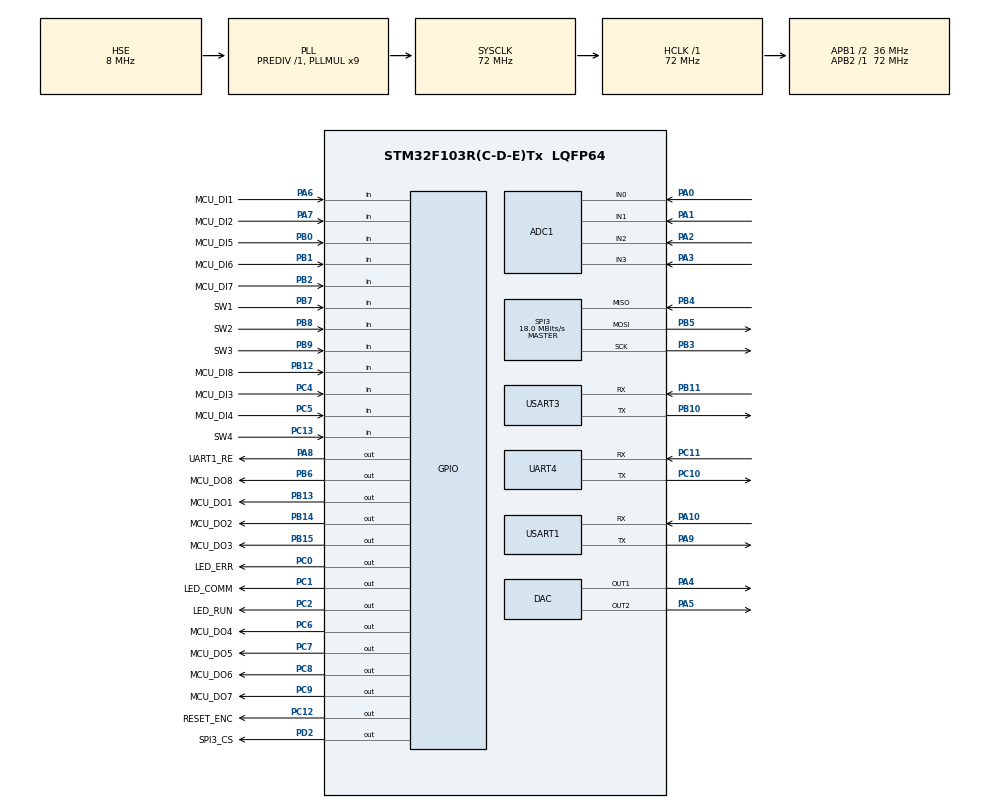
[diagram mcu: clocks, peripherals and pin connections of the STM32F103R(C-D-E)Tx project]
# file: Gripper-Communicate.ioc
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Mcu.Family=STM32F1
SPI3.Direction=SPI_DIRECTION_2LINES
SPI3.VirtualType=VM_MASTER
PB10.Mode=Asynchronous
ADC1.ContinuousConvMode=ENABLE
DAC.DAC_OutputBuffer2=DAC_OUTPUTBUFFER_ENABLE
SH.ADCx_IN2.0=ADC1_IN2,IN2
PC10.Signal=UART4_TX
PC12.Signal=GPIO_Output
PB14.GPIO_Label=MCU_DO2
PC0.GPIO_Label=LED_ERR
PC6.GPIO_Label=MCU_DO4
PA6.GPIO_Label=MCU_DI1
PB0.GPIO_Label=MCU_DI5
PB6.GPIO_Label=MCU_DO8
PB13.GPIO_Label=MCU_DO1
PB11.Signal=USART3_RX
PB13.Signal=GPIO_Output
PB15.Signal=GPIO_Output
RCC.SYSCLKSource=RCC_SYSCLKSOURCE_PLLCLK
ProjectManager.StackSize=0x1000
SH.COMP_DAC2_group.0=DAC_OUT2,DAC_OUT2
PD1-OSC_OUT.Signal=RCC_OSC_OUT
PB1.GPIO_PuPd=GPIO_PULLDOWN
RCC.HCLKFreq_Value=72000000
SH.ADCx_IN3.0=ADC1_IN3,IN3
RCC.APB2TimFreq_Value=72000000
PB6.Signal=GPIO_Output
PC7.Signal=GPIO_Output
RCC.AHBFreq_Value=72000000
PB2.Signal=GPIO_Input
PB3.Mode=Full_Duplex_Master
RCC.PLLMUL=RCC_PLL_MUL9
PB12.GPIO_Label=MCU_DI8
PA6.GPIO_PuPd=GPIO_PULLDOWN
PB4.Mode=Full_Duplex_Master
PC4.GPIO_Label=MCU_DI3
PA14.Mode=Serial_Wire
PB1.GPIO_Label=MCU_DI6
PB5.Mode=Full_Duplex_Master
PB7.Signal=GPIO_Input
PA8.Signal=GPIO_Output
DAC.DAC_OutputBuffer=DAC_OUTPUTBUFFER_ENABLE
SH.ADCx_IN0.0=ADC1_IN0,IN0
TIM4.Period=2499
PB2.GPIO_PuPd=GPIO_PULLDOWN
PB7.GPIO_Label=SW1
Mcu.Package=LQFP64
PB9.Signal=GPIO_Input
PB1.Signal=GPIO_Input
PA6.Signal=GPIO_Input
SPI3.Mode=SPI_MODE_MASTER
PC13-TAMPER-RTC.GPIO_PuPd=GPIO_PULLUP
PA10.Signal=USART1_RX
PB9.GPIO_PuPd=GPIO_PULLUP
PC11.Mode=Asynchronous
SH.ADCx_IN1.0=ADC1_IN1,IN1
RCC.APB1TimFreq_Value=72000000
PC5.Signal=GPIO_Input
NVIC.USART1_IRQn=true\:0\:2\:false\:false\:true\:true\:true
PC2.GPIO_Label=LED_RUN
PB4.Signal=SPI3_MISO
PA3.Signal=ADCx_IN3
PB7.GPIO_PuPd=GPIO_PULLUP
RCC.PLLSourceVirtual=RCC_PLLSOURCE_HSE
SH.COMP_DAC1_group.0=DAC_OUT1,DAC_OUT1
TIM4.AutoReloadPreload=TIM_AUTORELOAD_PRELOAD_ENABLE
PD1-OSC_OUT.Mode=HSE-External-Oscillator
PB9.GPIO_Label=SW3
PA10.Mode=Asynchronous
PC9.GPIO_Label=MCU_DO7
PC4.GPIO_PuPd=GPIO_PULLDOWN
PC11.Signal=UART4_RX
PC8.Signal=GPIO_Output
PB8.GPIO_PuPd=GPIO_PULLUP
PC2.Signal=GPIO_Output
PC4.Signal=GPIO_Input
PC6.Signal=GPIO_Output
PC10.Mode=Asynchronous
PC13-TAMPER-RTC.Signal=GPIO_Input
PD0-OSC_IN.Signal=RCC_OSC_IN
PC0.Signal=GPIO_Output
RCC.APB1CLKDivider=RCC_HCLK_DIV2
UART4.VirtualMode=Asynchronous
PC5.GPIO_PuPd=GPIO_PULLDOWN
PA0-WKUP.Signal=ADCx_IN0
RCC.ADCPresc=RCC_ADCPCLK2_DIV6
PC8.GPIO_Label=MCU_DO6
PA13.Signal=SYS_JTMS-SWDIO
PB8.GPIO_Label=SW2
PA9.Mode=Asynchronous
PA8.GPIO_Label=UART1_RE
PB11.Mode=Asynchronous
PC12.PinState=GPIO_PIN_SET
ProjectManager.TargetToolchain=STM32CubeIDE
PA9.Signal=USART1_TX
RCC.USBFreq_Value=72000000
TIM4.Prescaler=719
PA1.Signal=ADCx_IN1
PA7.GPIO_PuPd=GPIO_PULLDOWN
PD0-OSC_IN.Mode=HSE-External-Oscillator
PB10.Signal=USART3_TX
PB14.Signal=GPIO_Output
PA5.Signal=COMP_DAC2_group
board=custom
PC13-TAMPER-RTC.GPIO_Label=SW4
RCC.APB2Freq_Value=72000000
SPI3.CalculateBaudRate=18.0 MBits/s
PB15.GPIO_Label=MCU_DO3
SPI3.BaudRatePrescaler=SPI_BAUDRATEPRESCALER_2
PC1.GPIO_Label=LED_COMM
PA13.Mode=Serial_Wire
Mcu.Name=STM32F103R(C-D-E)Tx
PA2.Signal=ADCx_IN2
PC7.GPIO_Label=MCU_DO5
PB3.Signal=SPI3_SCK
PA4.Signal=COMP_DAC1_group
RCC.SYSCLKFreq_VALUE=72000000
PB5.Signal=SPI3_MOSI
PA7.GPIO_Label=MCU_DI2
ADC1.master=1
PC5.GPIO_Label=MCU_DI4
USART3.VirtualMode=VM_ASYNC
PC12.GPIO_Label=RESET_ENC
USART1.VirtualMode=VM_ASYNC
PA14.Signal=SYS_JTCK-SWCLK
PB2.GPIO_Label=MCU_DI7
ProjectManager.HeapSize=0x800
VP_TIM4_VS_ClockSourceINT.Mode=Internal
NVIC.PriorityGroup=NVIC_PRIORITYGROUP_2
ADC1.EnableRegularConversion=DISABLE
PB8.Signal=GPIO_Input
PC9.Signal=GPIO_Output
PD2.Signal=GPIO_Output
PB12.GPIO_PuPd=GPIO_PULLDOWN
NVIC.TIM4_IRQn=true\:1\:0\:true\:false\:true\:true\:true
RCC.APB1Freq_Value=36000000
PB0.Signal=GPIO_Input
PC1.Signal=GPIO_Output
PB12.Signal=GPIO_Input
PD2.GPIO_Label=SPI3_CS
PB0.GPIO_PuPd=GPIO_PULLDOWN
PA7.Signal=GPIO_Input

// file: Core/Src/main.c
/* USER CODE BEGIN Header */
/**
  ******************************************************************************
  * @file           : main.c
  * @brief          : Main program body
  ******************************************************************************
  * @attention
  *
  * <h2><center>&copy; Copyright (c) 2021 STMicroelectronics.
  * All rights reserved.</center></h2>
  *
  * This software component is licensed by ST under BSD 3-Clause license,
  * the "License"; You may not use this file except in compliance with the
  * License. You may obtain a copy of the License at:
  *                        opensource.org/licenses/BSD-3-Clause
  *
  ******************************************************************************
  */
/* USER CODE END Header */
#include "main.h"
#include "adc.h"
#include "dac.h"
#include "spi.h"
#include "tim.h"
#include "usart.h"
#include "gpio.h"

/* USER CODE BEGIN Includes */
#include "led.h"
#include "modbus.h"
#include "stdio.h"
#include "math.h"
/* USER CODE END Includes */

/* USER CODE BEGIN PD */
#define AD_MAX_VALUE	4095 //12bit adc
#define VREF			3300 // Vref = 3.3V

#define PROTOCOL_MODBUS_RTU		1
#define PROTOCOL_MODBUS_TCP		2
#define PROTOCOL_TCP_IP			3

#define RI1		1//Kohm
#define RI2		0.47//Kohm
#define RO1		20//Kohm
#define RO2		10//Kohm
#define CALIB_VALUE	1.607
/* USER CODE END PD */

/* USER CODE BEGIN PM */
#define CONVERT_ANAL_TO_DIGIT(__VAL__)		round(((__VAL__) * AD_MAX_VALUE) / VREF) // convert analog (mV) to digital (12bit value): result u16
#define CONVERT_DIGIT_TO_ANAL(__VAL__)		round(((__VAL__) * VREF) / AD_MAX_VALUE ) // convert digital (12bit value) to analog (mV): result float
/* USER CODE END PM */

/* USER CODE BEGIN PV */
const float AI_SCALE = (float)RI2 / (float)RI1;
const float AO_SCALE = (float)1 + ((float)RO1 / (float)RO2);

static uint8_t protocol;

uint16_t digit_output_pins[8] = {
		MCU_DO1_Pin, MCU_DO2_Pin, MCU_DO3_Pin, MCU_DO4_Pin,
		MCU_DO5_Pin, MCU_DO6_Pin, MCU_DO7_Pin, MCU_DO8_Pin};
GPIO_TypeDef* digit_output_ports[8] = {
		MCU_DO1_GPIO_Port, MCU_DO2_GPIO_Port, MCU_DO3_GPIO_Port, MCU_DO4_GPIO_Port,
		MCU_DO5_GPIO_Port, MCU_DO6_GPIO_Port, MCU_DO7_GPIO_Port, MCU_DO8_GPIO_Port};

uint16_t digit_input_pins[8] = {
		MCU_DI1_Pin, MCU_DI2_Pin, MCU_DI3_Pin, MCU_DI4_Pin,
		MCU_DI5_Pin, MCU_DI6_Pin, MCU_DI7_Pin, MCU_DI8_Pin};
GPIO_TypeDef* digit_input_ports[8] = {
		MCU_DI1_GPIO_Port, MCU_DI2_GPIO_Port, MCU_DI3_GPIO_Port, MCU_DI4_GPIO_Port,
		MCU_DI5_GPIO_Port, MCU_DI6_GPIO_Port, MCU_DI7_GPIO_Port, MCU_DI8_GPIO_Port};

uint32_t analog_output_channels[2] = {DAC_CHANNEL_1, DAC_CHANNEL_2};
uint32_t analog_input_channels[4] = {ADC_CHANNEL_0, ADC_CHANNEL_1, ADC_CHANNEL_2, ADC_CHANNEL_3};

/* USER CODE END PV */

void SystemClock_Config(void);
/* USER CODE BEGIN PFP */
void analog_init(void);
uint8_t selected_protocol(void);
void protocol_init(void);
/* USER CODE END PFP */

/* USER CODE BEGIN 0 */
//to use printf function
int _write(int file, char *ptr, int len)
{
  HAL_UART_Transmit(&huart3,(uint8_t *)ptr,len,0xFFFFFFFF);
  return len;
}
/* USER CODE END 0 */

int main(void)
{

  /* MCU Configuration--------------------------------------------------------*/

  /* Reset of all peripherals, Initializes the Flash interface and the Systick. */
  HAL_Init();

  /* Configure the system clock */
  SystemClock_Config();

  /* Initialize all configured peripherals */
  MX_GPIO_Init();
  MX_USART1_UART_Init();
  MX_ADC1_Init();
  MX_DAC_Init();
  MX_SPI3_Init();
  MX_USART3_UART_Init();
  MX_TIM4_Init();
  MX_UART4_Init();
  /* USER CODE BEGIN 2 */
  protocol_init();
  led_init(protocol);

  /* USER CODE END 2 */

  /* Infinite loop */
  /* USER CODE BEGIN WHILE */
  while (1)
  {
	  if(protocol == PROTOCOL_MODBUS_RTU)
	  {
		  modbus_checking_request();
	  }
	  HAL_Delay(5);
    /* USER CODE END WHILE */

  }
}

void SystemClock_Config(void)
{
  RCC_OscInitTypeDef RCC_OscInitStruct = {0};
  RCC_ClkInitTypeDef RCC_ClkInitStruct = {0};
  RCC_PeriphCLKInitTypeDef PeriphClkInit = {0};

  /** Initializes the RCC Oscillators according to the specified parameters
  * in the RCC_OscInitTypeDef structure.
  */
  RCC_OscInitStruct.OscillatorType = RCC_OSCILLATORTYPE_HSE;
  RCC_OscInitStruct.HSEState = RCC_HSE_ON;
  RCC_OscInitStruct.HSEPredivValue = RCC_HSE_PREDIV_DIV1;
  RCC_OscInitStruct.HSIState = RCC_HSI_ON;
  RCC_OscInitStruct.PLL.PLLState = RCC_PLL_ON;
  RCC_OscInitStruct.PLL.PLLSource = RCC_PLLSOURCE_HSE;
  RCC_OscInitStruct.PLL.PLLMUL = RCC_PLL_MUL9;
  if (HAL_RCC_OscConfig(&RCC_OscInitStruct) != HAL_OK)
  {
    Error_Handler();
  }
  /** Initializes the CPU, AHB and APB buses clocks
  */
  RCC_ClkInitStruct.ClockType = RCC_CLOCKTYPE_HCLK|RCC_CLOCKTYPE_SYSCLK
                              |RCC_CLOCKTYPE_PCLK1|RCC_CLOCKTYPE_PCLK2;
  RCC_ClkInitStruct.SYSCLKSource = RCC_SYSCLKSOURCE_PLLCLK;
  RCC_ClkInitStruct.AHBCLKDivider = RCC_SYSCLK_DIV1;
  RCC_ClkInitStruct.APB1CLKDivider = RCC_HCLK_DIV2;
  RCC_ClkInitStruct.APB2CLKDivider = RCC_HCLK_DIV1;

  if (HAL_RCC_ClockConfig(&RCC_ClkInitStruct, FLASH_LATENCY_2) != HAL_OK)
  {
    Error_Handler();
  }
  PeriphClkInit.PeriphClockSelection = RCC_PERIPHCLK_ADC;
  PeriphClkInit.AdcClockSelection = RCC_ADCPCLK2_DIV6;
  if (HAL_RCCEx_PeriphCLKConfig(&PeriphClkInit) != HAL_OK)
  {
    Error_Handler();
  }
}

/* USER CODE BEGIN 4 */

void protocol_init(void)
{
	protocol = selected_protocol();
	if(protocol == PROTOCOL_MODBUS_RTU)
	{
		//init modbus rtu
		modbus_init(MODBUS_RTU);
	}
	else if(protocol == PROTOCOL_MODBUS_TCP)
	{
		//init modbus tcp

	}
	else if(protocol == PROTOCOL_TCP_IP)
	{
		//inti tcp/ip
	}
}

void analog_init(void)
{
	HAL_ADCEx_Calibration_Start(&hadc1);
	HAL_DAC_Start(&hdac, DAC_CHANNEL_1);
	HAL_DAC_Start(&hdac, DAC_CHANNEL_2);
	HAL_DAC_SetValue(&hdac, DAC_CHANNEL_1, DAC_ALIGN_12B_R, 0);
	HAL_DAC_SetValue(&hdac, DAC_CHANNEL_2, DAC_ALIGN_12B_R, 0);
}

/*mode = 0 read digital input, mode != 0 read digital output*/
uint8_t digital_read(uint16_t channel, uint8_t mode)
{
	if(mode == 0)
	{
		return HAL_GPIO_ReadPin(digit_input_ports[channel], digit_input_pins[channel]);
	}
	return HAL_GPIO_ReadPin(digit_output_ports[channel], digit_output_pins[channel]);
}

void digital_write(uint16_t channel, uint8_t pinstate)
{
	HAL_GPIO_WritePin(digit_output_ports[channel], digit_output_pins[channel], pinstate);
}

/*mode = 0 read analog input, mode != 0 read analog output*/
uint8_t analog_read(uint16_t channel, uint16_t *pvalue, uint8_t mode)
{
	uint32_t values = 0;
	if(mode != 0)//doc gia tri set DAC
	{
		values = HAL_DAC_GetValue(&hdac, analog_output_channels[channel]);
		*pvalue = CONVERT_DIGIT_TO_ANAL(values);
		return HAL_OK;
	}
	// doc gia tri analog vao
	uint8_t i;
	HAL_StatusTypeDef status;
	ADC_ChannelConfTypeDef sConfig = {0};
	sConfig.Channel = analog_input_channels[channel];
	sConfig.Rank = ADC_REGULAR_RANK_1;
	sConfig.SamplingTime = ADC_SAMPLETIME_28CYCLES_5;
	status = HAL_ADC_ConfigChannel(&hadc1, &sConfig);
	if (status != HAL_OK)
	{
		return status;
	}

	for(i = 0; i < 10; i++)
	{
		HAL_ADC_Start(&hadc1);
		status = HAL_ADC_PollForConversion(&hadc1, 10);
		if(status != HAL_OK)
		{
			return status;
		}
		values += HAL_ADC_GetValue(&hadc1);
		HAL_ADC_Stop(&hadc1);
	}
	values = (values / 10) & 0xFFFF;//tinh trung binh
	*pvalue = CONVERT_DIGIT_TO_ANAL(values) * CALIB_VALUE;
	return status;
}

uint8_t analog_write(uint16_t channel, uint16_t volt)
{
	if(volt > VREF)
	{
		volt = VREF;
	}
	uint16_t value = CONVERT_ANAL_TO_DIGIT(volt);
	return HAL_DAC_SetValue(&hdac, analog_output_channels[channel], DAC_ALIGN_12B_R, value);
}
/**
 * sw1		sw2		protocol
 *  0		 x		modbus rtu
 *  1		 0		modbus tcp
 *  1		 1		tcp/ip
 */

uint8_t selected_protocol(void)
{
	uint8_t state;

	state = HAL_GPIO_ReadPin(SW1_GPIO_Port, SW1_Pin);
	if(state == 0)// select modbus rtu
	{
		return PROTOCOL_MODBUS_RTU;
	}
	state = HAL_GPIO_ReadPin(SW2_GPIO_Port, SW2_Pin);
	if(state == 0)// select modbus tcp
	{
		return PROTOCOL_MODBUS_TCP;
	}
	else // select tcp/ip
	{
		return PROTOCOL_TCP_IP;
	}

}

void delay_us(uint32_t delays)
{
	uint8_t i;
	while((delays--) > 0)
	{
		for(i = 0; i < 72; i++);

	}
}
/* USER CODE END 4 */

void Error_Handler(void)
{
  __disable_irq();
  while (1)
  {
  }
}

/************************ (C) COPYRIGHT STMicroelectronics *****END OF FILE****/
